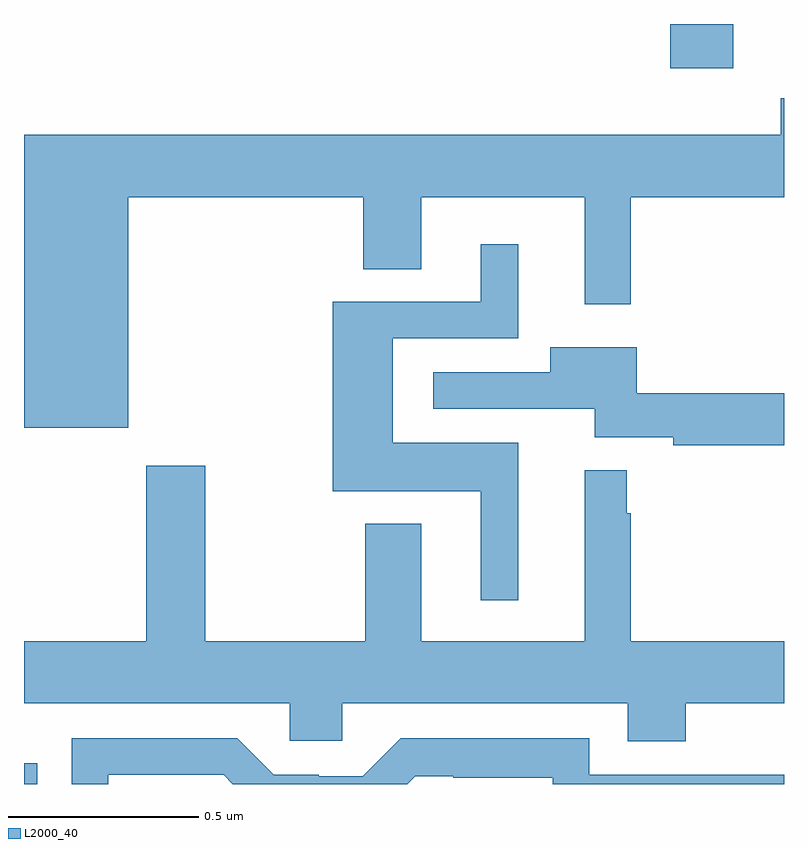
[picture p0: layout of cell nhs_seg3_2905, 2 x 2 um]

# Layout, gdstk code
import gdstk
lib = gdstk.Library(unit=1e-6, precision=1e-09)
def R(c, l, rs):  # rectangles x0, y0, x1, y1
    for r in rs: c.add(gdstk.rectangle(r[:2], r[2:], *l))
def P(c, l, *ps):  # polygons
    for p in ps: c.add(gdstk.Polygon(p, *l))
L2000_40 = (2000, 40)

nhs_seg3_2905 = lib.new_cell('nhs_seg3_2905')
R(nhs_seg3_2905, L2000_40, [(147,671.4,147.035,671.455), (148.7,673.284,148.867,673.4)])
P(nhs_seg3_2905, L2000_40, [(147,672.338),(147.274,672.338),(147.274,672.944),(147.893,672.944),(147.893,672.754),(148.045,672.754),(148.045,672.944),(148.475,672.944),(148.475,672.663),(148.597,672.663),(148.597,672.944),(149,672.944),(149,673.204),(148.991,673.204),(148.991,673.108),(147,673.108)],
  [(148.3,672.298),(147.97,672.298),(147.97,672.573),(148.3,672.573),(148.3,672.82),(148.202,672.82),(148.202,672.669),(147.812,672.669),(147.812,672.17),(148.202,672.17),(148.202,671.883),(148.3,671.883)],
  [(149,672.428),(148.612,672.428),(148.612,672.55),(148.385,672.55),(148.385,672.483),(148.077,672.483),(148.077,672.387),(148.502,672.387),(148.502,672.312),(148.708,672.312),(148.708,672.292),(149,672.292)],
  [(148.742,671.612),(149,671.612),(149,671.776),(148.597,671.776),(148.597,672.113),(148.586,672.113),(148.586,672.226),(148.475,672.226),(148.475,671.776),(148.045,671.776),(148.045,672.085),(147.898,672.085),(147.898,671.776),(147.477,671.776),(147.477,672.238),(147.322,672.238),(147.322,671.776),(147,671.776),(147,671.612),(147.699,671.612),(147.699,671.514),(147.837,671.514),(147.837,671.612),(148.589,671.612),(148.589,671.513),(148.742,671.513)],
  [(147.222,671.424),(147.525,671.424),(147.549,671.4),(148.008,671.4),(148.029,671.421),(148.129,671.421),(148.129,671.417),(148.392,671.417),(148.392,671.4),(149,671.4),(149,671.424),(148.488,671.424),(148.488,671.521),(147.991,671.521),(147.891,671.421),(147.776,671.421),(147.776,671.424),(147.657,671.424),(147.561,671.52),(147.126,671.52),(147.126,671.4),(147.222,671.4)])

lib.write_gds('nhs_seg3_2905.gds')
